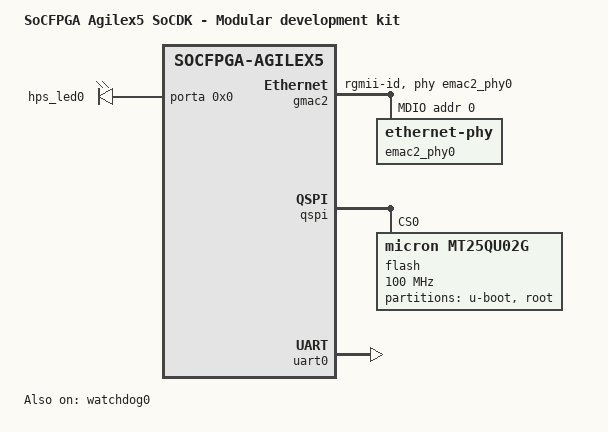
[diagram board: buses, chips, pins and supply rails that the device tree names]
// SPDX-License-Identifier: GPL-2.0-only
/*
 * Copyright (C) 2025, Altera Corporation
 */
#include "socfpga_agilex5.dtsi"

/ {
	model = "SoCFPGA Agilex5 SoCDK - Modular development kit";
	compatible = "intel,socfpga-agilex5-socdk-modular", "intel,socfpga-agilex5";

	aliases {
		serial0 = &uart0;
		ethernet2 = &gmac2;
	};

	chosen {
		stdout-path = "serial0:115200n8";
	};

	leds {
		compatible = "gpio-leds";

		led0 {
			label = "hps_led0";
			gpios = <&porta 0x0 GPIO_ACTIVE_HIGH>;
			linux,default-trigger = "heartbeat";
		};
	};

	memory@80000000 {
		device_type = "memory";
		/* We expect the bootloader to fill in the reg */
		reg = <0x0 0x80000000 0x0 0x0>;
	};
};

&gpio0 {
	status = "okay";
};

&gpio1 {
	status = "okay";
};

&gmac2 {
	status = "okay";
	phy-mode = "rgmii-id";
	phy-handle = <&emac2_phy0>;
	max-frame-size = <9000>;

	mdio0 {
		compatible = "snps,dwmac-mdio";
		#address-cells = <1>;
		#size-cells = <0>;

		emac2_phy0: ethernet-phy@0 {
			reg = <0>;
		};
	};
};

&osc1 {
	clock-frequency = <25000000>;
};

&qspi {
	status = "okay";
	flash@0 {
		compatible = "micron,mt25qu02g", "jedec,spi-nor";
		reg = <0>;
		spi-max-frequency = <100000000>;
		m25p,fast-read;
		cdns,read-delay = <2>;
		cdns,tshsl-ns = <50>;
		cdns,tsd2d-ns = <50>;
		cdns,tchsh-ns = <4>;
		cdns,tslch-ns = <4>;
		spi-tx-bus-width = <4>;
		spi-rx-bus-width = <4>;

		partitions {
			compatible = "fixed-partitions";
			#address-cells = <1>;
			#size-cells = <1>;

			qspi_boot: partition@0 {
				label = "u-boot";
				reg = <0x0 0x04200000>;
			};

			root: partition@4200000 {
				label = "root";
				reg = <0x04200000 0x0be00000>;
			};
		};
	};
};

&smmu {
	status = "okay";
};

&uart0 {
	status = "okay";
};

&watchdog0 {
	status = "okay";
};
